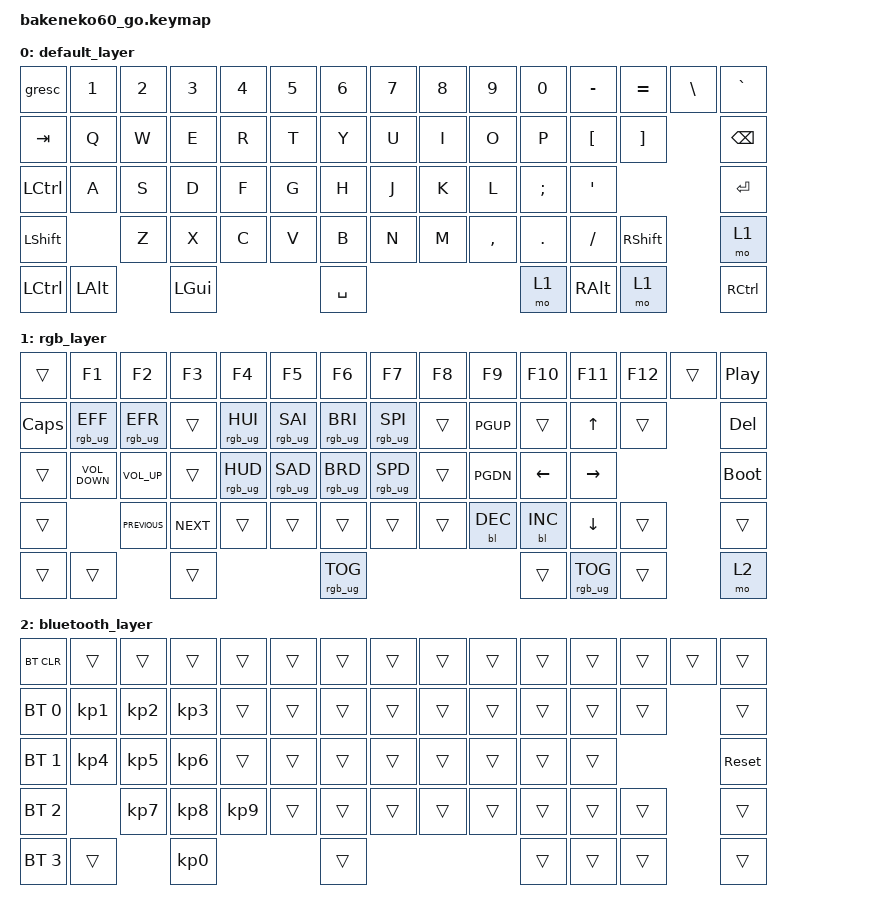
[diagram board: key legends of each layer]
/*
 * Copyright (c) 2023 Andrew Kannan
 *
 * SPDX-License-Identifier: MIT
 */

#include <behaviors.dtsi>
#include <dt-bindings/zmk/backlight.h>
#include <dt-bindings/zmk/bt.h>
#include <dt-bindings/zmk/keys.h>
#include <dt-bindings/zmk/rgb.h>

/ {
    keymap {
        compatible = "zmk,keymap";

        default_layer {
            // ------------------------------------------------------------------------------------------
            // | ESC |  1  |  2  |  3  |  4  |  5  |  6  |  7  |  8  |  9  |  0  |  -  |  =  | BKSP|BKSP|
            // | TAB  |  Q  |  W  |  E  |  R  |  T  |  Y  |  U  |  I  |  O  |  P  |  [  |  ]  |   "|"   |
            // | CAPS  |  A  |  S  |  D  |  F  |  G  |  H  |  J  |  K  |  L  |  ;  |  '  |     ENTER    |
            // |  SHIFT  |  Z  |  X  |  C  |  V  |  B  |  N  |  M  |  ,  |  .  |  /  |  SHIFT  | MO(1)  |
            // |  CTL  |  WIN  |  ALT  |            SPACE              |  ALT  |  WIN  |  MO(1) |  CTL  |
            // ------------------------------------------------------------------------------------------

            bindings = <
&gresc     &kp N1        &kp N2  &kp N3        &kp N4  &kp N5  &kp N6     &kp N7  &kp N8  &kp N9     &kp N0    &kp MINUS      &kp EQUAL  &kp BSLH  &kp GRAVE
&kp TAB    &kp Q         &kp W   &kp E         &kp R   &kp T   &kp Y      &kp U   &kp I   &kp O      &kp P     &kp LBKT       &kp RBKT             &kp BACKSPACE
&kp LCTRL  &kp A         &kp S   &kp D         &kp F   &kp G   &kp H      &kp J   &kp K   &kp L      &kp SEMI  &kp SQT                             &kp RET
&kp LSHFT                &kp Z   &kp X         &kp C   &kp V   &kp B      &kp N   &kp M   &kp COMMA  &kp DOT   &kp FSLH       &kp RSHFT            &mo 1
&kp LCTRL  &kp LEFT_ALT          &kp LEFT_GUI                  &kp SPACE                             &mo 1     &kp RIGHT_ALT  &mo 1                &kp RCTRL
            >;
        };

        rgb_layer {
            // ------------------------------------------------------------------------------------------------
            // |    `   | F1  | F2  | F3  | F4  | F5  | F6  | F7  | F8  | F9  | F10  | F11 | F12 |     | DEL  |
            // | EFCT REV|   |  UP |   | HUEUP | SATUP | BRIUP | SPDUP |      |  PGUP |    |     |    |       |
            // | EFCT FWD | LT |  DN  | RT | HUEDN | SATDN | BRIDN | SPDDN | HOME | PGDN | END  |  | BOOTLDR  |
            // |             |     |      |      |     |     |     |     |     |     |     |         |        |
            // |         |      |      |             TOG RGB                | PRT SCR |       |       |  MO(2)|
            // ------------------------------------------------------------------------------------------------

            bindings = <
&trans        &kp F1             &kp F2           &kp F3      &kp F4           &kp F5           &kp F6           &kp F7           &kp F8  &kp F9      &kp F10     &kp F11          &kp F12  &trans  &kp C_PLAY_PAUSE
&kp CAPSLOCK  &rgb_ug RGB_EFF    &rgb_ug RGB_EFR  &trans      &rgb_ug RGB_HUI  &rgb_ug RGB_SAI  &rgb_ug RGB_BRI  &rgb_ug RGB_SPI  &trans  &kp PGUP    &trans      &kp UP           &trans           &kp DELETE
&trans        &kp C_VOLUME_DOWN  &kp C_VOLUME_UP  &trans      &rgb_ug RGB_HUD  &rgb_ug RGB_SAD  &rgb_ug RGB_BRD  &rgb_ug RGB_SPD  &trans  &kp PGDN    &kp LEFT    &kp RIGHT                         &bootloader
&trans                           &kp C_PREVIOUS   &kp C_NEXT  &trans           &trans           &trans           &trans           &trans  &bl BL_DEC  &bl BL_INC  &kp DOWN         &trans           &trans
&trans        &trans                              &trans                                        &rgb_ug RGB_TOG                                       &trans      &rgb_ug RGB_TOG  &trans           &mo 2
            >;
        };

        bluetooth_layer {
            // ------------------------------------------------------------------------------------------------
            // | BT CLR |     |     |     |     |     |     |     |     |     |     |    |    |       |       |
            // |  BT 1   |   |     |   |       |       |       |       |   |     |    |     |     |           |
            // |   BT 2   |    |      |    |       |       |       |       |      |      |      |  |   Reset  |
            // |    BT 3     |     |      |      |     |     |     |     |     |     |     |         |        |
            // |   BT 4  |      |      |                                    |         |       |       |       |
            // ------------------------------------------------------------------------------------------------

            bindings = <
&bt BT_CLR    &trans           &trans           &trans           &trans           &trans  &trans  &trans  &trans  &trans  &trans  &trans  &trans  &trans  &trans
&bt BT_SEL 0  &kp KP_NUMBER_1  &kp KP_NUMBER_2  &kp KP_NUMBER_3  &trans           &trans  &trans  &trans  &trans  &trans  &trans  &trans  &trans          &trans
&bt BT_SEL 1  &kp KP_NUMBER_4  &kp KP_NUMBER_5  &kp KP_NUMBER_6  &trans           &trans  &trans  &trans  &trans  &trans  &trans  &trans                  &sys_reset
&bt BT_SEL 2                   &kp KP_NUMBER_7  &kp KP_NUMBER_8  &kp KP_NUMBER_9  &trans  &trans  &trans  &trans  &trans  &trans  &trans  &trans          &trans
&bt BT_SEL 3  &trans                            &kp KP_NUMBER_0                           &trans                          &trans  &trans  &trans          &trans
            >;
        };
    };

    combos {
        compatible = "zmk,combos";

        combo_bt {
            timeout-ms = <50>;
            key-positions = <61 62>;
            bindings = <&mo 2>;
        };
    };
};
